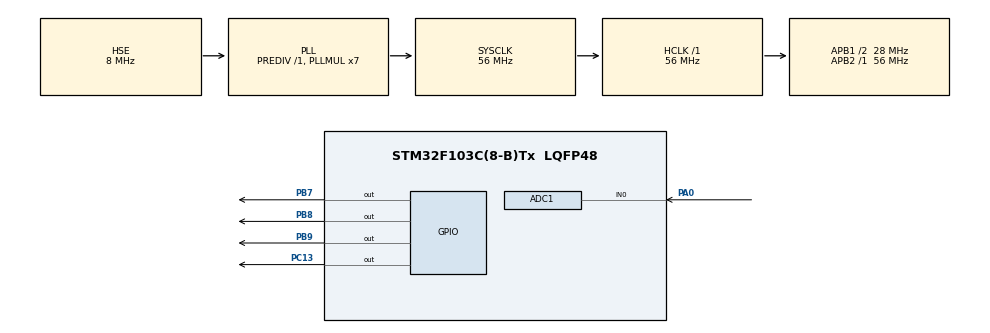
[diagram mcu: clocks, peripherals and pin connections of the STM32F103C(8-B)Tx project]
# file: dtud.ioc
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ADC1.Channel-0\#ChannelRegularConversion=ADC_CHANNEL_0
ADC1.ContinuousConvMode=ENABLE
ADC1.EnableInjectedConversion=DISABLE
ADC1.InjNumberOfConversion=0
ADC1.NbrOfConversionFlag=1
ADC1.Rank-0\#ChannelRegularConversion=1
ADC1.SamplingTime-0\#ChannelRegularConversion=ADC_SAMPLETIME_239CYCLES_5
ADC1.master=1
Mcu.Family=STM32F1
Mcu.Name=STM32F103C(8-B)Tx
Mcu.Package=LQFP48
NVIC.ADC1_2_IRQn=true\:0\:0\:false\:false\:true\:true\:true\:true
NVIC.PriorityGroup=NVIC_PRIORITYGROUP_4
PA0-WKUP.Signal=ADCx_IN0
PA13.Mode=Serial_Wire
PA13.Signal=SYS_JTMS-SWDIO
PA14.Mode=Serial_Wire
PA14.Signal=SYS_JTCK-SWCLK
PB7.Signal=GPIO_Output
PB8.Signal=GPIO_Output
PB9.Signal=GPIO_Output
PC13-TAMPER-RTC.Signal=GPIO_Output
PD0-OSC_IN.Mode=HSE-External-Oscillator
PD0-OSC_IN.Signal=RCC_OSC_IN
PD1-OSC_OUT.Mode=HSE-External-Oscillator
PD1-OSC_OUT.Signal=RCC_OSC_OUT
ProjectManager.HeapSize=0x200
ProjectManager.StackSize=0x400
ProjectManager.TargetToolchain=STM32CubeIDE
RCC.ADCPresc=RCC_ADCPCLK2_DIV4
RCC.AHBFreq_Value=56000000
RCC.APB1CLKDivider=RCC_HCLK_DIV2
RCC.APB1Freq_Value=28000000
RCC.APB1TimFreq_Value=56000000
RCC.APB2Freq_Value=56000000
RCC.APB2TimFreq_Value=56000000
RCC.HCLKFreq_Value=56000000
RCC.PLLMUL=RCC_PLL_MUL7
RCC.PLLSourceVirtual=RCC_PLLSOURCE_HSE
RCC.SYSCLKFreq_VALUE=56000000
RCC.SYSCLKSource=RCC_SYSCLKSOURCE_PLLCLK
RCC.USBFreq_Value=56000000
SH.ADCx_IN0.0=ADC1_IN0,IN0
board=custom

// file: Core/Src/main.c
/* USER CODE BEGIN Header */
/**
  ******************************************************************************
  * @file           : main.c
  * @brief          : Main program body
  ******************************************************************************
  * @attention
  *
  * Copyright (c) 2024 STMicroelectronics.
  * All rights reserved.
  *
  * This software is licensed under terms that can be found in the LICENSE file
  * in the root directory of this software component.
  * If no LICENSE file comes with this software, it is provided AS-IS.
  *
  ******************************************************************************
  */
/* USER CODE END Header */
#include "main.h"

ADC_HandleTypeDef hadc1;

/* USER CODE BEGIN PV */
uint16_t Sens, Sens1[256];;
float voltage_sum, voltage;
/* USER CODE END PV */

void SystemClock_Config(void);
static void MX_GPIO_Init(void);
static void MX_ADC1_Init(void);

/* USER CODE BEGIN 0 */
void HAL_ADC_ConvCpltCallback(ADC_HandleTypeDef* hadc)
{
  /* Prevent unused argument(s) compilation warning */
  UNUSED(hadc);
  if (hadc->Instance == ADC1)
  {
	  Sens = HAL_ADC_GetValue(&hadc1);
  }
}

/* USER CODE END 0 */

int main(void)
{

  /* MCU Configuration--------------------------------------------------------*/

  /* Reset of all peripherals, Initializes the Flash interface and the Systick. */
  HAL_Init();

  /* Configure the system clock */
  SystemClock_Config();

  /* Initialize all configured peripherals */
  MX_GPIO_Init();
  MX_ADC1_Init();
  /* USER CODE BEGIN 2 */

  uint8_t i=0;
  char ok=0;
  HAL_ADC_Start_IT(&hadc1);
  /* USER CODE END 2 */

  /* Infinite loop */
  while (1)
  {

    /* USER CODE BEGIN 3 */
//	  HAL_GPIO_TogglePin(GPIOC, GPIO_PIN_13);
	  HAL_GPIO_WritePin(GPIOC, GPIO_PIN_13, ok);
	  Sens1[i++]=Sens;
	  voltage_sum=0;
	  for (int var = 0; var < 256; ++var) {
		  voltage_sum+=Sens1[var]*3.3/4096;
	  }
	  voltage=0.9987*(voltage_sum/256)+0.0504;
	  ok=1;
	  if(voltage>=0.409)//>=0.409V
	  {
		  if (voltage>=0.487)//>=0.487V
		  {
			  if (voltage>=0.493)//>=0.493V
			  {
				  if (voltage>=0.78125)//>=0.78125V
				  {
					  if (voltage>=0.79775)//>=0.79775V
					  {
						  if (voltage>=1.236)//>=1.236V
						  {
							  if (voltage>=1.286)//>=1.286V
							  {
									if (voltage>=2.315) //>=2.315
										//state!
										ok=0;
									else //stateIV
									{
										  HAL_GPIO_WritePin(GPIOB, GPIO_PIN_7, 1);
										  HAL_GPIO_WritePin(GPIOB, GPIO_PIN_8, 1);
										  HAL_GPIO_WritePin(GPIOB, GPIO_PIN_9, 0);
									}
							  }
							  //state0
						  }
						  else //stateIII
						  {
							  HAL_GPIO_WritePin(GPIOB, GPIO_PIN_7, 0);
							  HAL_GPIO_WritePin(GPIOB, GPIO_PIN_8, 1);
							  HAL_GPIO_WritePin(GPIOB, GPIO_PIN_9, 0);

						  }
					  }
					  //state0
				  }
				  else //stateII
				  {
					  HAL_GPIO_WritePin(GPIOB, GPIO_PIN_7, 0);
					  HAL_GPIO_WritePin(GPIOB, GPIO_PIN_8, 0);
					  HAL_GPIO_WritePin(GPIOB, GPIO_PIN_9, 1);
				  }
			  }
			  //state0
		  }
		  else //stateI
		  {
				HAL_GPIO_WritePin(GPIOB, GPIO_PIN_7, 0);
				HAL_GPIO_WritePin(GPIOB, GPIO_PIN_8, 0);
				HAL_GPIO_WritePin(GPIOB, GPIO_PIN_9, 0);

		  }
	  }
	  else
		  //state!
		  ok=0;
  }
  /* USER CODE END 3 */
}

void SystemClock_Config(void)
{
  RCC_OscInitTypeDef RCC_OscInitStruct = {0};
  RCC_ClkInitTypeDef RCC_ClkInitStruct = {0};
  RCC_PeriphCLKInitTypeDef PeriphClkInit = {0};

  /** Initializes the RCC Oscillators according to the specified parameters
  * in the RCC_OscInitTypeDef structure.
  */
  RCC_OscInitStruct.OscillatorType = RCC_OSCILLATORTYPE_HSE;
  RCC_OscInitStruct.HSEState = RCC_HSE_ON;
  RCC_OscInitStruct.HSEPredivValue = RCC_HSE_PREDIV_DIV1;
  RCC_OscInitStruct.HSIState = RCC_HSI_ON;
  RCC_OscInitStruct.PLL.PLLState = RCC_PLL_ON;
  RCC_OscInitStruct.PLL.PLLSource = RCC_PLLSOURCE_HSE;
  RCC_OscInitStruct.PLL.PLLMUL = RCC_PLL_MUL7;
  if (HAL_RCC_OscConfig(&RCC_OscInitStruct) != HAL_OK)
  {
    Error_Handler();
  }

  /** Initializes the CPU, AHB and APB buses clocks
  */
  RCC_ClkInitStruct.ClockType = RCC_CLOCKTYPE_HCLK|RCC_CLOCKTYPE_SYSCLK
                              |RCC_CLOCKTYPE_PCLK1|RCC_CLOCKTYPE_PCLK2;
  RCC_ClkInitStruct.SYSCLKSource = RCC_SYSCLKSOURCE_PLLCLK;
  RCC_ClkInitStruct.AHBCLKDivider = RCC_SYSCLK_DIV1;
  RCC_ClkInitStruct.APB1CLKDivider = RCC_HCLK_DIV2;
  RCC_ClkInitStruct.APB2CLKDivider = RCC_HCLK_DIV1;

  if (HAL_RCC_ClockConfig(&RCC_ClkInitStruct, FLASH_LATENCY_2) != HAL_OK)
  {
    Error_Handler();
  }
  PeriphClkInit.PeriphClockSelection = RCC_PERIPHCLK_ADC;
  PeriphClkInit.AdcClockSelection = RCC_ADCPCLK2_DIV4;
  if (HAL_RCCEx_PeriphCLKConfig(&PeriphClkInit) != HAL_OK)
  {
    Error_Handler();
  }
}

static void MX_ADC1_Init(void)
{

  ADC_ChannelConfTypeDef sConfig = {0};

  /** Common config
  */
  hadc1.Instance = ADC1;
  hadc1.Init.ScanConvMode = ADC_SCAN_DISABLE;
  hadc1.Init.ContinuousConvMode = ENABLE;
  hadc1.Init.DiscontinuousConvMode = DISABLE;
  hadc1.Init.ExternalTrigConv = ADC_SOFTWARE_START;
  hadc1.Init.DataAlign = ADC_DATAALIGN_RIGHT;
  hadc1.Init.NbrOfConversion = 1;
  if (HAL_ADC_Init(&hadc1) != HAL_OK)
  {
    Error_Handler();
  }

  /** Configure Regular Channel
  */
  sConfig.Channel = ADC_CHANNEL_0;
  sConfig.Rank = ADC_REGULAR_RANK_1;
  sConfig.SamplingTime = ADC_SAMPLETIME_239CYCLES_5;
  if (HAL_ADC_ConfigChannel(&hadc1, &sConfig) != HAL_OK)
  {
    Error_Handler();
  }

}

static void MX_GPIO_Init(void)
{
  GPIO_InitTypeDef GPIO_InitStruct = {0};

  /* GPIO Ports Clock Enable */
  __HAL_RCC_GPIOC_CLK_ENABLE();
  __HAL_RCC_GPIOD_CLK_ENABLE();
  __HAL_RCC_GPIOA_CLK_ENABLE();
  __HAL_RCC_GPIOB_CLK_ENABLE();

  /*Configure GPIO pin Output Level */
  HAL_GPIO_WritePin(GPIOC, GPIO_PIN_13, GPIO_PIN_RESET);

  /*Configure GPIO pin Output Level */
  HAL_GPIO_WritePin(GPIOB, GPIO_PIN_7|GPIO_PIN_8|GPIO_PIN_9, GPIO_PIN_RESET);

  /*Configure GPIO pin : PC13 */
  GPIO_InitStruct.Pin = GPIO_PIN_13;
  GPIO_InitStruct.Mode = GPIO_MODE_OUTPUT_PP;
  GPIO_InitStruct.Pull = GPIO_NOPULL;
  GPIO_InitStruct.Speed = GPIO_SPEED_FREQ_LOW;
  HAL_GPIO_Init(GPIOC, &GPIO_InitStruct);

  /*Configure GPIO pins : PB7 PB8 PB9 */
  GPIO_InitStruct.Pin = GPIO_PIN_7|GPIO_PIN_8|GPIO_PIN_9;
  GPIO_InitStruct.Mode = GPIO_MODE_OUTPUT_PP;
  GPIO_InitStruct.Pull = GPIO_NOPULL;
  GPIO_InitStruct.Speed = GPIO_SPEED_FREQ_LOW;
  HAL_GPIO_Init(GPIOB, &GPIO_InitStruct);

}

void Error_Handler(void)
{
  __disable_irq();
  while (1)
  {
  }
}
